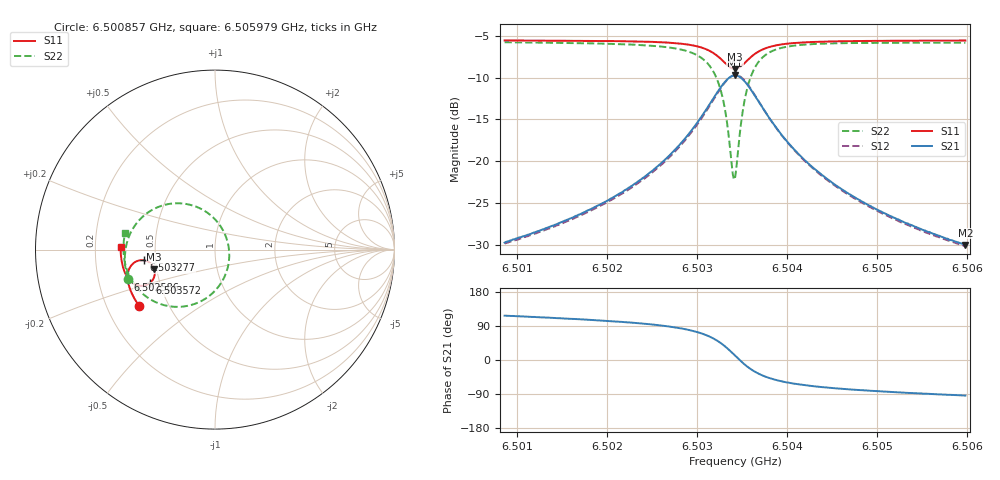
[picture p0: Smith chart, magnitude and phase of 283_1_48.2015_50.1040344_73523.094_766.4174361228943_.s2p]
#  HZ  S  RI  R  50.00
! Rohde & Schwarz Vector Network Analyzer
! Rohde-Schwarz,ZNB20-2Port,1311601062101988,3.16
! Created: UTC 3/20/2024, 11:48:45 AM
! freq[Hz]  re:S11  im:S11  re:S21  im:S21  re:S12  im:S12  re:S22  im:S22
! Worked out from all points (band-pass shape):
!   401 points, 6.500857 GHz to 6.505979 GHz, reference 50 ohm
!   highest |S21| = -9.75 dB at 6.503418 GHz (marker M1); lowest = -30.0 dB at 6.505979 GHz (marker M2)
!   |S21| within 3 dB of the highest: 6.503162 GHz to 6.503674 GHz (512.4 kHz wide, 0.00788 % of centre)
!   lowest |S11| = -9.0 dB at 6.503418 GHz (marker M3), VSWR 2.10, Z = 24.2 - j6.04 ohm
!   |S11| at or under -10 dB: nowhere
!   |S22| runs from -22.2 to -5.8 dB; largest |S21 - S12| = 0.011
!   S11 on the Smith chart (normalised r, x): 6.500857 GHz: 0.34, -0.30; 6.502586 GHz: 0.33, -0.15; 6.503277 GHz: 0.43, -0.06; 6.503572 GHz: 0.44, -0.20; 6.505979 GHz: 0.31, +0.01
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6.5008574e9  -0.422 -0.315  -0.0148 0.0292  -0.0134 0.0294  -0.4872 -0.1624
6.5017153e9  -0.4595 -0.2523  -0.0144 0.0469  -0.012 0.0464  -0.5018 -0.0727
6.5021762e9  -0.476 -0.2121  -0.0116 0.0652  -0.00883 0.0643  -0.5 -0.00866
6.5025731e9  -0.4859 -0.1692  -0.00274 0.0951  0.000751 0.0927  -0.481 0.0685
6.5025859e9  -0.4861 -0.1675  -0.00224 0.0963  0.00134 0.094  -0.4798 0.0715
6.5028292e9  -0.4853 -0.1323  0.0159 0.1295  0.0197 0.1257  -0.4413 0.141
6.5030084e9  -0.4738 -0.0991  0.0507 0.1655  0.0539 0.1601  -0.373 0.207
6.5031748e9  -0.4392 -0.0661  0.1282 0.1987  0.1293 0.1923  -0.2306 0.2573
6.5032773e9  -0.3965 -0.0594  0.2132 0.1897  0.2136 0.1842  -0.0825 0.2293
6.5033285e9  -0.3712 -0.068  0.2614 0.1615  0.2621 0.157  -0.00274 0.1718
6.5033925e9  -0.3446 -0.0944  0.3085 0.0983  0.3111 0.0932  0.0683 0.0498
6.5034181e9  -0.3385 -0.1088  0.3186 0.0662  0.3218 0.0605  0.0789 -0.00964
6.5034437e9  -0.3356 -0.1243  0.3222 0.0329  0.3254 0.0261  0.0769 -0.0705
6.5035077e9  -0.3427 -0.1611  0.3041 -0.0441  0.3059 -0.054  0.0215 -0.204
6.5035717e9  -0.3638 -0.1866  0.2616 -0.0974  0.2605 -0.1087  -0.0742 -0.2856
6.5036742e9  -0.4029 -0.2016  0.1878 -0.1333  0.1824 -0.1425  -0.2225 -0.3188
6.5038406e9  -0.4484 -0.1917  0.1071 -0.1304  0.1002 -0.1351  -0.3678 -0.2725
6.5040199e9  -0.4756 -0.1704  0.0632 -0.1104  0.0571 -0.1126  -0.4389 -0.2082
6.5042759e9  -0.4962 -0.1404  0.0337 -0.0864  0.0289 -0.0869  -0.4816 -0.1366
6.50466e9  -0.5116 -0.1007  0.0147 -0.0635  0.0116 -0.0633  -0.504 -0.062
6.5051337e9  -0.5211 -0.0572  0.00489 -0.0472  0.00274 -0.0466  -0.51 0.00367
6.5059788e9  -0.526 0.0141  -0.00212 -0.0317  -0.00336 -0.031  -0.5017 0.0921
